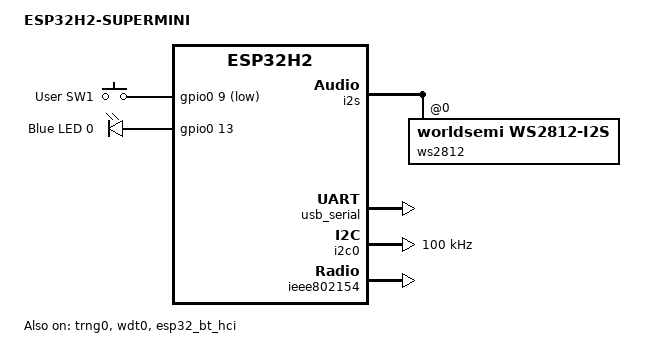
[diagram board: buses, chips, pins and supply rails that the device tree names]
/*
 * Copyright (c) 2026 Ivan Shautsou
 * SPDX-License-Identifier: Apache-2.0
 */

/dts-v1/;

#include <espressif/esp32h2/esp32h2_mini_h4.dtsi>
#include "esp32h2_supermini-pinctrl.dtsi"
#include <zephyr/dt-bindings/input/input-event-codes.h>
#include <zephyr/dt-bindings/led/led.h>
#include <espressif/partitions_0x0_default.dtsi>

/ {
	model = "ESP32H2-SUPERMINI";
	compatible = "espressif,esp32h2_supermini";

	chosen {
		zephyr,sram = &sramhp;
		zephyr,console = &usb_serial;
		zephyr,shell-uart = &usb_serial;
		zephyr,flash = &flash0;
		zephyr,code-partition = &slot0_partition;
		zephyr,ieee802154 = &ieee802154;
	};

	aliases {
		led0 = &blue_led;
		sw0 = &user_button1;
		watchdog0 = &wdt0;
		led-strip = &ws2812;
	};

	gpio_keys {
		compatible = "gpio-keys";

		user_button1: button_1 {
			label = "User SW1";
			gpios = <&gpio0 9 (GPIO_PULL_UP | GPIO_ACTIVE_LOW)>;
			zephyr,code = <INPUT_KEY_0>;
		};
	};

	leds {
		compatible = "gpio-leds";

		blue_led: led_0 {
			gpios = <&gpio0 13 GPIO_ACTIVE_HIGH>;
			label = "Blue LED 0";
		};
	};
};

&i2s {
	pinctrl-0 = <&i2s0_default>;
	pinctrl-names = "default";
	status = "okay";

	dmas = <&dma 1>;
	dma-names = "tx";

	ws2812: ws2812_strip@0 {
		compatible = "worldsemi,ws2812-i2s";
		reg = <0>;
		chain-length = <1>;
		color-mapping = <LED_COLOR_ID_GREEN
				 LED_COLOR_ID_RED
				 LED_COLOR_ID_BLUE>;
	};
};

&usb_serial {
	status = "okay";
};

&i2c0 {
	status = "okay";
	clock-frequency = <I2C_BITRATE_STANDARD>;
	pinctrl-0 = <&i2c0_default>;
	pinctrl-names = "default";
};

&trng0 {
	status = "okay";
};

&gpio0 {
	status = "okay";
};

&wdt0 {
	status = "okay";
};

&uart0 {
	status = "disabled";
};

&dma {
	status = "okay";
};

&uart1 {
	status = "disabled";
};

&esp32_bt_hci {
	status = "okay";
};

&ieee802154 {
	status = "okay";
};
